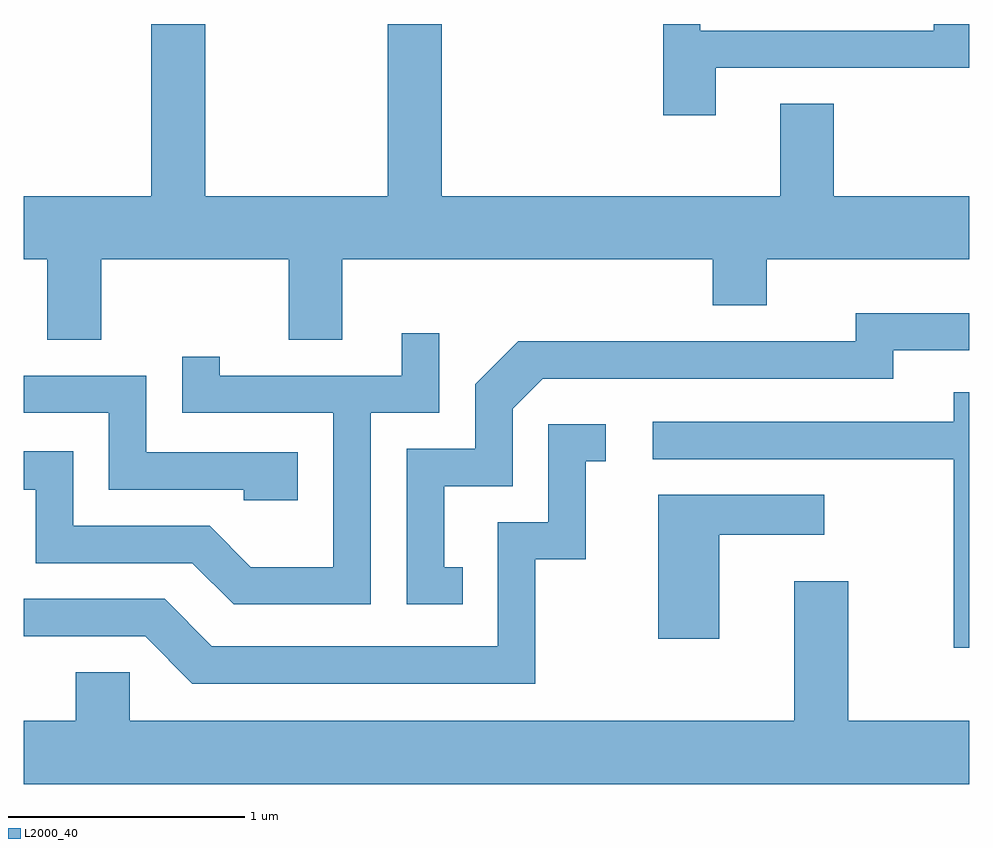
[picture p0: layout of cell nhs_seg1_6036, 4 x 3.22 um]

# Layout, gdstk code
import gdstk
lib = gdstk.Library(unit=1e-6, precision=1e-09)
def P(c, l, *ps):  # polygons
    for p in ps: c.add(gdstk.Polygon(p, *l))
L2000_40 = (2000, 40)

nhs_seg1_6036 = lib.new_cell('nhs_seg1_6036')
P(nhs_seg1_6036, L2000_40, [(367.939,870.716),(368.731,870.716),(368.731,870.376),(368.959,870.376),(368.959,870.716),(370.526,870.716),(370.526,870.521),(370.754,870.521),(370.754,870.716),(371.611,870.716),(371.611,870.984),(371.039,870.984),(371.039,871.374),(370.811,871.374),(370.811,870.984),(369.379,870.984),(369.379,871.712),(369.151,871.712),(369.151,870.984),(368.379,870.984),(368.379,871.712),(368.151,871.712),(368.151,870.984),(367.611,870.984),(367.611,870.716),(367.711,870.716),(367.711,870.376),(367.939,870.376)],
  [(370.539,871.526),(371.611,871.526),(371.611,871.712),(371.461,871.712),(371.461,871.684),(370.474,871.684),(370.474,871.712),(370.316,871.712),(370.316,871.326),(370.539,871.326)],
  [(369.468,869.414),(369.389,869.414),(369.389,869.756),(369.679,869.756),(369.679,870.084),(369.807,870.211),(371.289,870.211),(371.289,870.331),(371.611,870.331),(371.611,870.489),(371.131,870.489),(371.131,870.369),(369.704,870.369),(369.521,870.187),(369.521,869.914),(369.231,869.914),(369.231,869.256),(369.468,869.256)],
  [(369.079,870.066),(369.369,870.066),(369.369,870.403),(369.211,870.403),(369.211,870.224),(368.439,870.224),(368.439,870.303),(368.281,870.303),(368.281,870.066),(368.921,870.066),(368.921,869.414),(368.572,869.414),(368.397,869.589),(367.819,869.589),(367.819,869.904),(367.611,869.904),(367.611,869.741),(367.661,869.741),(367.661,869.431),(368.324,869.431),(368.499,869.256),(369.079,869.256)],
  [(368.769,869.899),(368.129,869.899),(368.129,870.224),(367.611,870.224),(367.611,870.066),(367.971,870.066),(367.971,869.741),(368.541,869.741),(368.541,869.696),(368.769,869.696)],
  [(371.611,870.153),(371.546,870.153),(371.546,870.029),(370.273,870.029),(370.273,869.871),(371.546,869.871),(371.546,869.073),(371.611,869.073)],
  [(369.774,869.446),(369.989,869.446),(369.989,869.861),(370.073,869.861),(370.073,870.019),(369.831,870.019),(369.831,869.604),(369.616,869.604),(369.616,869.079),(368.407,869.079),(368.207,869.279),(367.611,869.279),(367.611,869.121),(368.124,869.121),(368.324,868.921),(369.774,868.921)],
  [(370.554,869.551),(370.998,869.551),(370.998,869.719),(370.296,869.719),(370.296,869.111),(370.554,869.111)],
  [(371.611,868.764),(371.099,868.764),(371.099,869.354),(370.871,869.354),(370.871,868.764),(368.059,868.764),(368.059,868.969),(367.831,868.969),(367.831,868.764),(367.611,868.764),(367.611,868.496),(371.611,868.496)])

lib.write_gds('nhs_seg1_6036.gds')
